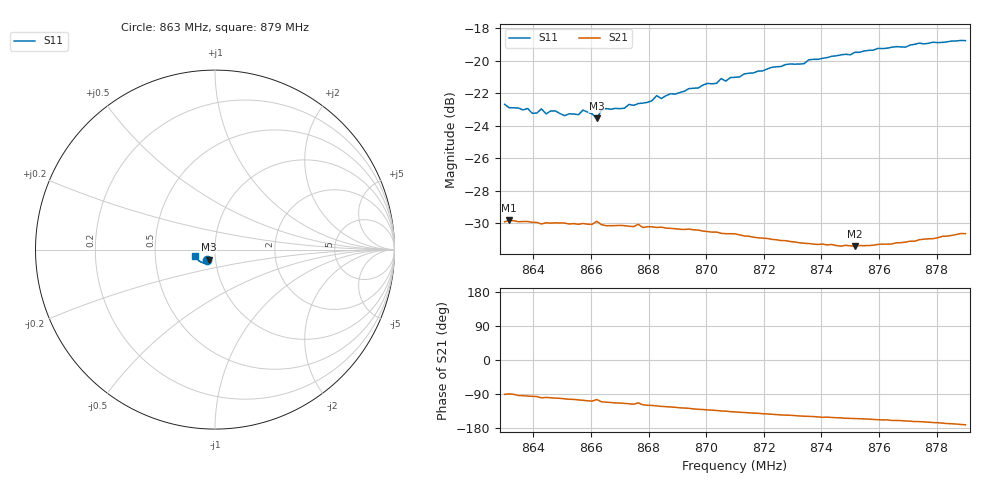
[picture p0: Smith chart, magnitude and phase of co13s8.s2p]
# HZ S RI R 50
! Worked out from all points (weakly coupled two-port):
!   101 points, 863 MHz to 879 MHz, reference 50 ohm
!   highest |S21| = -29.82 dB at 863.16 MHz (marker M1); lowest = -31.4 dB at 875.16 MHz (marker M2)
!   lowest |S11| = -23.5 dB at 866.2 MHz (marker M3), VSWR 1.14, Z = 46.4 - j5.28 ohm
!   |S11| at or under -10 dB: start of sweep to end of sweep
!   S12 and S22 are empty: the file has one direction only
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8.63e8  -0.0459 -0.0575  -0.000388 -0.0319  0 0  0 0
8.6316e8  -0.0429 -0.0575  0.000335 -0.0323  0 0  0 0
8.638e8  -0.0426 -0.0572  -0.00284 -0.0319  0 0  0 0
8.6396e8  -0.0405 -0.0558  -0.00329 -0.0317  0 0  0 0
8.6428e8  -0.0429 -0.0568  -0.00541 -0.031  0 0  0 0
8.6444e8  -0.0405 -0.0554  -0.00482 -0.0314  0 0  0 0
8.6476e8  -0.0404 -0.0573  -0.00581 -0.0312  0 0  0 0
8.6508e8  -0.0371 -0.0568  -0.00676 -0.0309  0 0  0 0
8.6556e8  -0.0373 -0.0572  -0.00825 -0.0303  0 0  0 0
8.6572e8  -0.0373 -0.0598  -0.00889 -0.0303  0 0  0 0
8.662e8  -0.0347 -0.0567  -0.00794 -0.0311  0 0  0 0
8.6636e8  -0.0372 -0.0599  -0.0108 -0.0294  0 0  0 0
8.6652e8  -0.0362 -0.0615  -0.0113 -0.029  0 0  0 0
8.6716e8  -0.036 -0.0618  -0.0129 -0.0283  0 0  0 0
8.6812e8  -0.0368 -0.0659  -0.0154 -0.0267  0 0  0 0
8.6828e8  -0.0392 -0.0676  -0.0158 -0.0263  0 0  0 0
8.6844e8  -0.0383 -0.0663  -0.0165 -0.026  0 0  0 0
8.71e8  -0.0505 -0.0733  -0.0215 -0.02  0 0  0 0
8.7372e8  -0.0707 -0.0723  -0.0234 -0.014  0 0  0 0
8.7516e8  -0.0827 -0.0667  -0.0243 -0.0115  0 0  0 0
8.7644e8  -0.0929 -0.0593  -0.0256 -0.00956  0 0  0 0
8.79e8  -0.1095 -0.0367  -0.029 -0.00464  0 0  0 0
